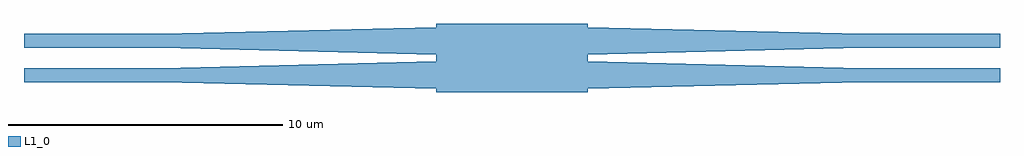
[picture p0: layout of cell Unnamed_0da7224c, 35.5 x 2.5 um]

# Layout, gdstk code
from math import pi, radians
import gdstk
lib = gdstk.Library(unit=1e-6, precision=1e-09)
def R(c, l, rs):  # rectangles x0, y0, x1, y1
    for r in rs: c.add(gdstk.rectangle(r[:2], r[2:], *l))
def P(c, l, *ps):  # polygons
    for p in ps: c.add(gdstk.Polygon(p, *l))
L1_0 = (1, 0)

mmi2x2 = lib.new_cell('mmi2x2')
R(mmi2x2, L1_0, [(0,-1.25,5.5,1.25)])
P(mmi2x2, L1_0, [(0,-1.125),(-10,-0.875),(-10,-0.375),(0,-0.125)],
  [(0,0.125),(-10,0.375),(-10,0.875),(0,1.125)],
  [(5.5,0.125),(5.5,1.125),(15.5,0.875),(15.5,0.375)],
  [(5.5,-1.125),(5.5,-0.125),(15.5,-0.375),(15.5,-0.875)])

straight_length5 = lib.new_cell('straight_length5')
R(straight_length5, L1_0, [(0,-0.25,5,0.25)])

unnamed_0da7224c = lib.new_cell('Unnamed_0da7224c')
unnamed_0da7224c.add(gdstk.Reference(mmi2x2, (-2.75,0)))
unnamed_0da7224c.add(gdstk.Reference(straight_length5, (-12.75,-0.625), rotation=pi))
unnamed_0da7224c.add(gdstk.Reference(straight_length5, (-12.75,0.625), rotation=pi))
unnamed_0da7224c.add(gdstk.Reference(straight_length5, (12.75,0.625)))
unnamed_0da7224c.add(gdstk.Reference(straight_length5, (12.75,-0.625)))

lib.write_gds('Unnamed_0da7224c.gds')
